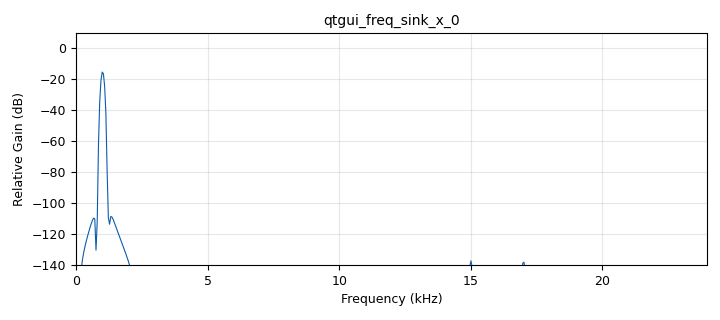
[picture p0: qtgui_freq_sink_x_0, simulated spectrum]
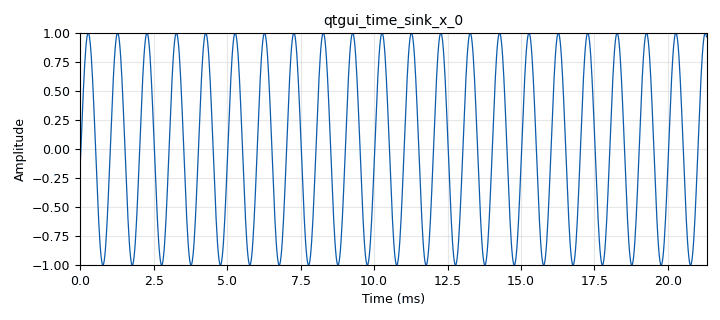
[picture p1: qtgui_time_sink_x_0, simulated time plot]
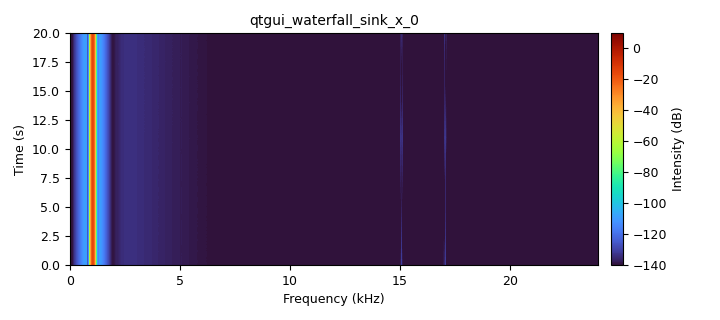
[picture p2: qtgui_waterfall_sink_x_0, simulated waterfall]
options:
  parameters:
    generate_options: qt_gui
    id: startprojekt
    output_language: python
    title: Not titled yet
  states: {}

blocks:
- name: freq
  id: variable_qtgui_range
  parameters:
    start: '100'
    step: '1'
    stop: '2000'
    value: '1000'
    widget: dial
  states: {}
- name: samp_rate
  id: variable
  parameters:
    value: '48000'
  states: {}
- name: analog_sig_source_x_0
  id: analog_sig_source_x
  parameters:
    amp: '1'
    freq: freq
    offset: '0'
    phase: '0'
    samp_rate: samp_rate
    type: float
    waveform: analog.GR_COS_WAVE
  states: {}
- name: audio_sink_0
  id: audio_sink
  parameters:
    samp_rate: samp_rate
  states: {}
- name: qtgui_freq_sink_x_0
  id: qtgui_freq_sink_x
  parameters:
    bw: samp_rate
    fc: '0'
    fftsize: '1024'
    freqhalf: 'False'
    type: float
  states: {}
- name: qtgui_time_sink_x_0
  id: qtgui_time_sink_x
  parameters:
    size: '1024'
    srate: samp_rate
    tr_mode: qtgui.TRIG_MODE_AUTO
    type: float
  states: {}
- name: qtgui_waterfall_sink_x_0
  id: qtgui_waterfall_sink_x
  parameters:
    bw: samp_rate
    fc: '0'
    fftsize: '1024'
    freqhalf: 'False'
    type: float
  states: {}

connections:
- [analog_sig_source_x_0, '0', audio_sink_0, '0']
- [analog_sig_source_x_0, '0', qtgui_freq_sink_x_0, '0']
- [analog_sig_source_x_0, '0', qtgui_time_sink_x_0, '0']
- [analog_sig_source_x_0, '0', qtgui_waterfall_sink_x_0, '0']

metadata:
  file_format: 1
  grc_version: 3.10.5.1
